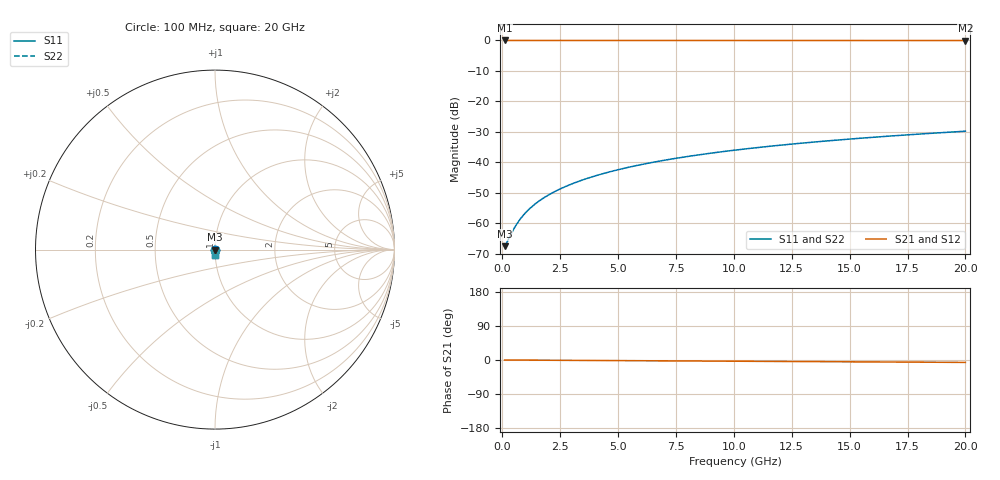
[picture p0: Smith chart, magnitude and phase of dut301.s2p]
! Touchstone file exported from HFSS 2026.1.0
!  File:  C:/ffzhzh/LocalFiles/Ansys_Project_Files/temp_train_TSV_301_1783017888_53980.aedt
!  Generated:  02:46:35 AM Jul  3, 2026
!  Design:  TSV
!  Project:  temp_train_TSV_301_1783017888_53980
! Variables:
!  h_bsmrdl = 2um
!  h_ox = 20um
!  h_rdl = 5um
!  h_sub = 65.76um
!  h_tmrdl = 5um
!  h_tsv = 65.76um
!  h_via = 3um
!  l_bsmrdl = 300um
!  l_sub = 409.08um
!  l_tmrdl = 200um
!  m_sub = 200um
!  pitch = 13.96um
!  r_tsv = 4.54um
!  s_tmrdl = 10um
!  w_bsmrdl = 18um
!  w_sub = 500um
!  w_tmrdl = 12um
!  x_tsv_center1 = 206um
!  x_tsv_center2 = 524um
!  x_tsv_center3 = 736um
!  x_tsv_center4 = 1054um
!  x_tsv_center5 = 1266um
!  x_tsv_center6 = 1584um
# GHz S MA R 50.000000
! Terminal data exported
! Port[1] = TSV1_1_T1
! Port[2] = TSV1_1_T2
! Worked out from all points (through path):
!   200 points, 100 MHz to 20 GHz, reference 50 ohm
!   highest |S21| = 0.00 dB at 100 MHz (marker M1); lowest = 0.0 dB at 20 GHz (marker M2)
!   lowest |S11| = -67.5 dB at 100 MHz (marker M3), VSWR 1.00, Z = 50 - j0.00999 ohm
!   |S11| at or under -10 dB: start of sweep to end of sweep
!   |S22| runs from -67.5 to -29.8 dB; largest |S21 - S12| = 2.8e-15
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0.1  0.0004195 -13.8  0.9996 -0.0  0.9996 -0.0  0.0004195 -13.8
! Gamma 0 0 0 0
! Port Impedance 50 0 50 0
0.2  0.0004837 -26.2  0.9996 -0.1  0.9996 -0.1  0.0004837 -26.2
0.4  0.0006869 -44.6  0.9995 -0.1  0.9995 -0.1  0.0006869 -44.6
0.5  0.0008079 -50.9  0.9995 -0.2  0.9995 -0.2  0.0008079 -50.9
0.7  0.001067 -59.7  0.9995 -0.2  0.9995 -0.2  0.001067 -59.7
0.8  0.001202 -62.7  0.9994 -0.3  0.9994 -0.3  0.001202 -62.7
1  0.001477 -67.3  0.9994 -0.3  0.9994 -0.3  0.001477 -67.3
1.3  0.001899 -71.7  0.9994 -0.4  0.9994 -0.4  0.001899 -71.7
1.7  0.002474 -75.2  0.9993 -0.6  0.9993 -0.6  0.002474 -75.2
2.2  0.003207 -77.8  0.9993 -0.7  0.9993 -0.7  0.003207 -77.8
2.8  0.004107 -79.7  0.9992 -0.9  0.9992 -0.9  0.004107 -79.7
3.5  0.00518 -81.1  0.9991 -1.1  0.9991 -1.1  0.00518 -81.1
4.2  0.006276 -82.1  0.999 -1.4  0.999 -1.4  0.006276 -82.1
5  0.00755 -83.0  0.9988 -1.6  0.9988 -1.6  0.00755 -83.0
5.9  0.009005 -83.9  0.9987 -1.9  0.9987 -1.9  0.009005 -83.9
6.8  0.01047 -84.7  0.9986 -2.2  0.9986 -2.2  0.01047 -84.7
8.3  0.01294 -85.9  0.9984 -2.7  0.9984 -2.7  0.01294 -85.9
10.1  0.01592 -87.2  0.9982 -3.2  0.9982 -3.2  0.01592 -87.2
11.7  0.01857 -88.1  0.998 -3.7  0.998 -3.7  0.01857 -88.1
13.4  0.02139 -89.1  0.9978 -4.3  0.9978 -4.3  0.02139 -89.1
16.7  0.02687 -90.7  0.9975 -5.3  0.9975 -5.3  0.02687 -90.7
20  0.03237 -92.1  0.9971 -6.3  0.9971 -6.3  0.03237 -92.1
